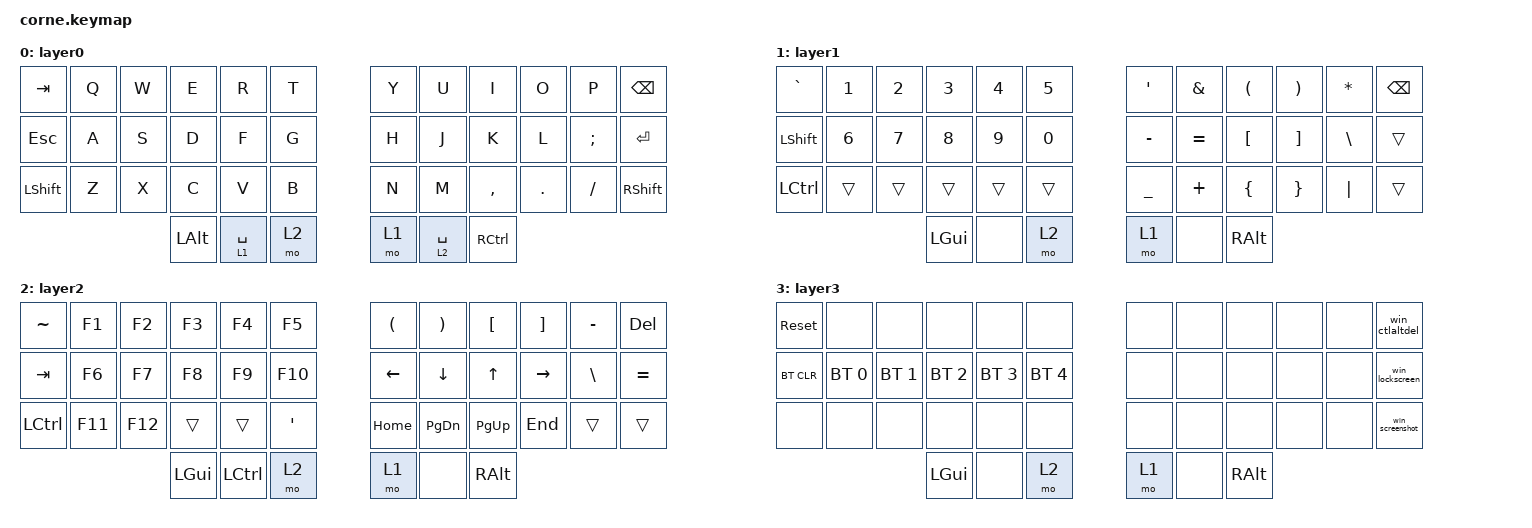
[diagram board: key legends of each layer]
/*
 * Copyright (c) 2020 The ZMK Contributors
 *
 * SPDX-License-Identifier: MIT
 */

#include <behaviors.dtsi>
#include <dt-bindings/zmk/keys.h>
#include <dt-bindings/zmk/bt.h>
#include <dt-bindings/zmk/ext_power.h>

/ {
  combos {
    compatible = "zmk,combos";
    combo_layer3 {
      timeout-ms = <200>;
      key-positions = <38 39>;
      bindings = <&mo 3>;
    };
  };
  macros {
    win_ctlaltdel: win_ctlaltdel {
      compatible = "zmk,behavior-macro";
      #binding-cells = <0>;
      bindings
          = <&macro_press &kp LEFT_CONTROL &kp LEFT_ALT>
          , <&macro_tap &kp DELETE>
          , <&macro_release &kp LEFT_CONTROL &kp LEFT_ALT>
          ;
    };
    win_lockscreen: win_lockscreen {
      compatible = "zmk,behavior-macro";
      #binding-cells = <0>;
      bindings
          = <&macro_press &kp LEFT_GUI>
          , <&macro_tap &kp L>
          , <&macro_release &kp LEFT_GUI>
          ;
    };
    win_screenshot: win_screenshot {
      compatible = "zmk,behavior-macro";
      #binding-cells = <0>;
      bindings
          = <&macro_press &kp LEFT_GUI &kp LSHIFT>
          , <&macro_tap &kp S>
          , <&macro_release &kp LEFT_GUI &kp LSHIFT>
          ;
    };
  };
  keymap {
    compatible = "zmk,keymap";
layer0 {
        bindings = <
        //----------.-------.-------.-------.-------.-------.        .-------.-------.-----------.---------.----------.-----------
          &kp TAB     &kp Q   &kp W   &kp E   &kp R   &kp T            &kp Y   &kp U   &kp I       &kp O     &kp P      &kp BSPC
        //----------.-------.-------.-------.-------.-------          -------.-------.-----------.---------.----------.-----------
          &kp ESC     &kp A   &kp S   &kp D   &kp F   &kp G            &kp H   &kp J   &kp K       &kp L     &kp SEMI   &kp ENTER
        //----------.-------.-------.-------.-------.-------          -------.-------.-----------.---------.----------.-----------
          &kp LSHFT   &kp Z   &kp X   &kp C   &kp V   &kp B            &kp N   &kp M   &kp COMMA   &kp DOT   &kp FSLH   &kp RSHFT
        //----------.-------.-------.-------.-------.-------          -------.-------.-----------.---------.----------.-----------
                               &kp LALT   &lt 1 SPACE   &mo 2        &mo 1   &lt 2 SPACE   &kp RCTRL
         //                  '----------'-------------'-------      -------'-------------'-----------'
        >;
      };layer1 {
        bindings = <
        //----------.--------.--------.--------.--------.--------.       .-----------.----------.----------.----------.-----------.----------
          &kp GRAVE   &kp N1   &kp N2   &kp N3   &kp N4   &kp N5           &kp SQT     &kp AMPS   &kp LPAR   &kp RPAR   &kp ASTRK   &kp BSPC
        //----------.--------.--------.--------.--------.--------         -----------.----------.----------.----------.-----------.----------
          &kp LSHFT   &kp N6   &kp N7   &kp N8   &kp N9   &kp N0           &kp MINUS   &kp EQUAL  &kp LBKT   &kp RBKT   &kp BSLH    &trans
        //----------.--------.--------.--------.--------.--------         -----------.----------.----------.----------.-----------.----------
          &kp LCTRL   &trans   &trans   &trans   &trans   &trans           &kp UNDER   &kp PLUS   &kp LBRC   &kp RBRC   &kp PIPE    &trans
        //----------.--------.--------.--------.--------.--------         -----------.----------.----------.----------.-----------.----------
                                          &kp LGUI   &none   &mo 2       &mo 1   &none   &kp RALT
        //                              '----------'-------'-------     -------'-------'----------'
        >;
      };layer2 {
        bindings = <
        //----------.---------.---------.--------.--------.---------.       .----------.-----------.-----------.-----------.-----------.-----------
          &kp TILDE   &kp F1    &kp F2    &kp F3   &kp F4   &kp F5            &kp LPAR   &kp RPAR    &kp LBKT    &kp RBKT    &kp MINUS   &kp DEL
        //----------.---------.---------.--------.--------.---------         ----------.-----------.-----------.-----------.-----------.-----------
          &kp TAB     &kp F6    &kp F7    &kp F8   &kp F9   &kp F10           &kp LEFT   &kp DOWN    &kp UP      &kp RIGHT   &kp BSLH    &kp EQUAL
        //----------.---------.---------.--------.--------.---------         ----------.-----------.-----------.-----------.-----------.-----------
          &kp LCTRL   &kp F11   &kp F12   &trans   &trans   &kp SQT           &kp HOME   &kp PG_DN   &kp PG_UP   &kp END     &trans      &trans
        //----------.---------.---------.--------.--------.---------         ----------.-----------.-----------.-----------.-----------.-----------
                                         &kp LGUI   &kp LCTRL   &mo 2       &mo 1   &none   &kp RALT
        //                              '---------'-----------'-------     -------'-------'----------'
        >;
      };layer3 {
        bindings = <
        //----------.------------.------------.------------.------------.-------------.       .------.-----.-----.-----.-----.---------------
          &sys_reset &none        &none        &none        &none        &none                  &none &none &none &none &none &win_ctlaltdel
        //----------.------------.------------.------------.------------.-------------         ------.-----.-----.-----.-----.---------------
          &bt BT_CLR &bt BT_SEL 0 &bt BT_SEL 1 &bt BT_SEL 2 &bt BT_SEL 3 &bt BT_SEL 4           &none &none &none &none &none &win_lockscreen
        //----------.------------.------------.------------.------------.-------------         ------.-----.-----.-----.-----.---------------
          &none      &none        &none        &none        &none        &none                  &none &none &none &none &none &win_screenshot
        //----------.------------.------------.------------.------------.-------------         ------.-----.-----.-----.-----.---------------
                                                               &kp LGUI   &none   &mo 2       &mo 1   &none   &kp RALT
        //                                                   '----------'-------'-------     -------'-------'----------'
        >;
      };
  };
};

